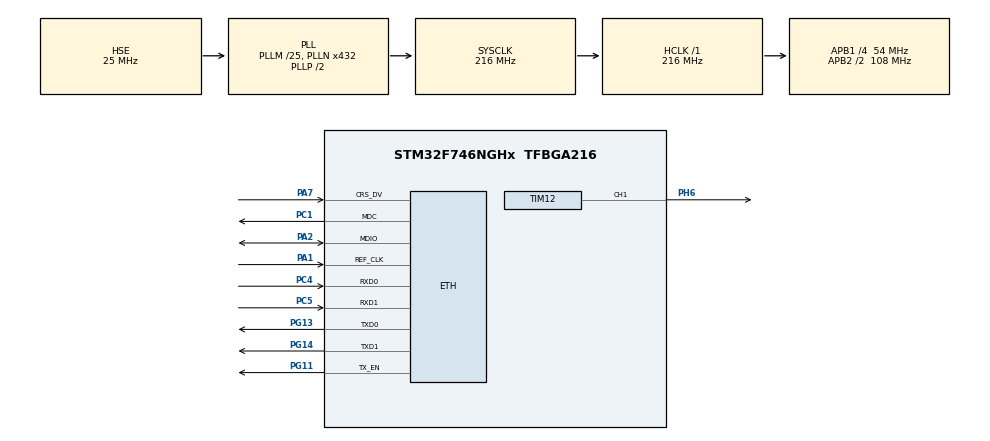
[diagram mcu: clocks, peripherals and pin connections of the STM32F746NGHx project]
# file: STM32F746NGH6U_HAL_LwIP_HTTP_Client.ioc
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Mcu.Family=STM32F7
PA2.GPIO_PuPd=GPIO_PULLUP
RCC.CortexFreq_Value=216000000
FREERTOS.BinarySemaphores01=BinarySem,Dynamic,NULL
LWIP.LWIP_SO_RCVTIMEO=1
CORTEX_M7.PREFETCH_ENABLE=1
PC5.Mode=RMII
PG13.Signal=ETH_TXD0
PG11.Signal=ETH_TX_EN
RCC.SYSCLKSource=RCC_SYSCLKSOURCE_PLLCLK
ProjectManager.StackSize=0x4000
PH0/OSC_IN.Mode=HSE-External-Oscillator
PG11.GPIO_PuPd=GPIO_PULLUP
RCC.HCLKFreq_Value=216000000
RCC.APB2TimFreq_Value=216000000
PH1/OSC_OUT.Signal=RCC_OSC_OUT
FREERTOS.configMINIMAL_STACK_SIZE=256
PA1.GPIO_PuPd=GPIO_PULLUP
RCC.AHBFreq_Value=216000000
NVIC.ETH_IRQn=true\:5\:0\:false\:false\:true\:true\:false\:true
RCC.HSE_VALUE=25000000
PB3.Mode=Trace_Asynchronous_SW
PC1.GPIO_PuPd=GPIO_PULLUP
PG13.GPIO_PuPd=GPIO_PULLUP
TIM12.Period=99
PG14.Mode=RMII
SH.S_TIM12_CH1.0=TIM12_CH1,PWM Generation1 CH1
PA14.Mode=Trace_Asynchronous_SW
VP_SYS_VS_tim1.Mode=TIM1
PG13.Mode=RMII
VP_FREERTOS_VS_CMSIS_V1.Mode=CMSIS_V1
PH1/OSC_OUT.Mode=HSE-External-Oscillator
FREERTOS.configTOTAL_HEAP_SIZE=131072
Mcu.Package=TFBGA216
NVIC.TimeBase=TIM1_UP_TIM10_IRQn
NVIC.TimeBaseIP=TIM1
RCC.APB2CLKDivider=RCC_HCLK_DIV2
RCC.APB1TimFreq_Value=108000000
PC5.Signal=ETH_RXD1
PC4.Mode=RMII
RCC.PLLSourceVirtual=RCC_PLLSOURCE_HSE
CORTEX_M7.CPU_ICache=Enabled
FREERTOS.Tasks01=defaultTask,0,256,StartDefaultTask,Default,NULL,Dynamic,NULL,NULL;pwmTask,1,256,StartPwmTask,Default,NULL,Dynamic,NULL,NULL
PA7.Mode=RMII
PC4.GPIO_PuPd=GPIO_PULLUP
PC4.Signal=ETH_RXD0
ETH.MACAddr=44\:88\:44\:88\:44\:88
RCC.APB1CLKDivider=RCC_HCLK_DIV4
PC5.GPIO_PuPd=GPIO_PULLUP
ETH.PhyAddress=0
TIM12.Pulse-PWM\ Generation1\ CH1=100
VP_LWIP_VS_Enabled.Mode=Enabled
LWIP.LWIP_DNS=1
PA13.Signal=SYS_JTMS-SWDIO
ProjectManager.TargetToolchain=STM32CubeIDE
CORTEX_M7.ART_ACCLERATOR_ENABLE=1
RCC.USBFreq_Value=216000000
RCC.LSE_VALUE=32768
PA7.GPIO_PuPd=GPIO_PULLUP
PA1.Signal=ETH_REF_CLK
PG14.Signal=ETH_TXD1
board=custom
RCC.VCOOutputFreq_Value=432000000
PH0/OSC_IN.Signal=RCC_OSC_IN
TIM12.Channel-PWM\ Generation1\ CH1=TIM_CHANNEL_1
RCC.APB2Freq_Value=108000000
PA1.Mode=RMII
PG14.GPIO_PuPd=GPIO_PULLUP
PA13.Mode=Trace_Asynchronous_SW
Mcu.Name=STM32F746NGHx
PA2.Signal=ETH_MDIO
PB3.Signal=SYS_JTDO-SWO
RCC.SYSCLKFreq_VALUE=216000000
ETH.MediaInterface=ETH_MEDIA_INTERFACE_RMII
PG11.Mode=RMII
PA14.Signal=SYS_JTCK-SWCLK
ProjectManager.HeapSize=0x2000
LWIP.Version=v2.1.2_Cube
PH6.Signal=S_TIM12_CH1
NVIC.TIM1_UP_TIM10_IRQn=true\:0\:0\:false\:false\:true\:false\:false\:true
RCC.HSI_VALUE=16000000
NVIC.PriorityGroup=NVIC_PRIORITYGROUP_4
RCC.PLLM=25
RCC.PLLN=432
PA2.Mode=RMII
RCC.APB1Freq_Value=54000000
PC1.Signal=ETH_MDC
PC1.Mode=RMII
PA7.Signal=ETH_CRS_DV

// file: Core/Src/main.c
/* USER CODE BEGIN Header */
/**
  ******************************************************************************
  * @file           : main.c
  * @brief          : Main program body
  ******************************************************************************
  * @attention
  *
  * <h2><center>&copy; Copyright (c) 2020 STMicroelectronics.
  * All rights reserved.</center></h2>
  *
  * This software component is licensed by ST under BSD 3-Clause license,
  * the "License"; You may not use this file except in compliance with the
  * License. You may obtain a copy of the License at:
  *                        opensource.org/licenses/BSD-3-Clause
  *
  ******************************************************************************
  */
/* USER CODE END Header */
#include "main.h"
#include "cmsis_os.h"
#include "lwip.h"
#include "tim.h"
#include "gpio.h"

void SystemClock_Config(void);
void MX_FREERTOS_Init(void);

/* USER CODE BEGIN 0 */

int _write(int file, char *ptr, int len)
{
  /* Implement your write code here, this is used by puts and printf for example */
  int i=0;
  for(i=0 ; i<len ; i++)
    ITM_SendChar((*ptr++));
  return len;
}

/* USER CODE END 0 */

int main(void)
{

  /* Enable I-Cache---------------------------------------------------------*/
  SCB_EnableICache();

  /* MCU Configuration--------------------------------------------------------*/

  /* Reset of all peripherals, Initializes the Flash interface and the Systick. */
  HAL_Init();

  /* Configure the system clock */
  SystemClock_Config();

  /* Initialize all configured peripherals */
  MX_GPIO_Init();
  MX_TIM12_Init();
  /* USER CODE BEGIN 2 */

  HAL_TIM_PWM_Start_IT(&htim12, TIM_CHANNEL_1);

  /* USER CODE END 2 */

  /* Call init function for freertos objects (in freertos.c) */
  MX_FREERTOS_Init();
  /* Start scheduler */
  osKernelStart();

  /* We should never get here as control is now taken by the scheduler */
  /* Infinite loop */
  while (1)
  {

  }
}

void SystemClock_Config(void)
{
  RCC_OscInitTypeDef RCC_OscInitStruct = {0};
  RCC_ClkInitTypeDef RCC_ClkInitStruct = {0};

  /** Configure the main internal regulator output voltage
  */
  __HAL_RCC_PWR_CLK_ENABLE();
  __HAL_PWR_VOLTAGESCALING_CONFIG(PWR_REGULATOR_VOLTAGE_SCALE1);
  /** Initializes the RCC Oscillators according to the specified parameters
  * in the RCC_OscInitTypeDef structure.
  */
  RCC_OscInitStruct.OscillatorType = RCC_OSCILLATORTYPE_HSE;
  RCC_OscInitStruct.HSEState = RCC_HSE_ON;
  RCC_OscInitStruct.PLL.PLLState = RCC_PLL_ON;
  RCC_OscInitStruct.PLL.PLLSource = RCC_PLLSOURCE_HSE;
  RCC_OscInitStruct.PLL.PLLM = 25;
  RCC_OscInitStruct.PLL.PLLN = 432;
  RCC_OscInitStruct.PLL.PLLP = RCC_PLLP_DIV2;
  RCC_OscInitStruct.PLL.PLLQ = 2;
  if (HAL_RCC_OscConfig(&RCC_OscInitStruct) != HAL_OK)
  {
    Error_Handler();
  }
  /** Activate the Over-Drive mode
  */
  if (HAL_PWREx_EnableOverDrive() != HAL_OK)
  {
    Error_Handler();
  }
  /** Initializes the CPU, AHB and APB buses clocks
  */
  RCC_ClkInitStruct.ClockType = RCC_CLOCKTYPE_HCLK|RCC_CLOCKTYPE_SYSCLK
                              |RCC_CLOCKTYPE_PCLK1|RCC_CLOCKTYPE_PCLK2;
  RCC_ClkInitStruct.SYSCLKSource = RCC_SYSCLKSOURCE_PLLCLK;
  RCC_ClkInitStruct.AHBCLKDivider = RCC_SYSCLK_DIV1;
  RCC_ClkInitStruct.APB1CLKDivider = RCC_HCLK_DIV4;
  RCC_ClkInitStruct.APB2CLKDivider = RCC_HCLK_DIV2;

  if (HAL_RCC_ClockConfig(&RCC_ClkInitStruct, FLASH_LATENCY_7) != HAL_OK)
  {
    Error_Handler();
  }
}

 /**
  * @brief  Period elapsed callback in non blocking mode
  * @note   This function is called  when TIM1 interrupt took place, inside
  * HAL_TIM_IRQHandler(). It makes a direct call to HAL_IncTick() to increment
  * a global variable "uwTick" used as application time base.
  * @param  htim : TIM handle
  * @retval None
  */
void HAL_TIM_PeriodElapsedCallback(TIM_HandleTypeDef *htim)
{
  if (htim->Instance == TIM1) {
    HAL_IncTick();
  }
}

void Error_Handler(void)
{
  __disable_irq();
  while (1)
  {
  }
}

/************************ (C) COPYRIGHT STMicroelectronics *****END OF FILE****/

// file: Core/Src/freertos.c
/* USER CODE BEGIN Header */
/**
  ******************************************************************************
  * File Name          : freertos.c
  * Description        : Code for freertos applications
  ******************************************************************************
  * @attention
  *
  * <h2><center>&copy; Copyright (c) 2020 STMicroelectronics.
  * All rights reserved.</center></h2>
  *
  * This software component is licensed by ST under Ultimate Liberty license
  * SLA0044, the "License"; You may not use this file except in compliance with
  * the License. You may obtain a copy of the License at:
  *                             www.st.com/SLA0044
  *
  ******************************************************************************
  */
/* USER CODE END Header */

#include "FreeRTOS.h"
#include "task.h"
#include "main.h"
#include "cmsis_os.h"

/* USER CODE BEGIN Includes */

#include "stdio.h"
#include "lwip.h"
#include "api.h"
#include "string.h"

/* USER CODE END Includes */

/* USER CODE BEGIN PD */

#define TIMEOUT		3000	//	in ms
#define BUF_LENGTH	2048

//#define	DOMAIN_NAME	"fly.sytes.net"
//#define PORT		8080

#define DOMAIN_NAME	"google.com"
#define PORT		80

/* USER CODE END PD */

/* USER CODE BEGIN Variables */

char recv_buf[BUF_LENGTH] = {0};
extern TIM_HandleTypeDef htim12;

/* USER CODE END Variables */
osThreadId defaultTaskHandle;
osThreadId pwmTaskHandle;
osSemaphoreId BinarySemHandle;

void StartDefaultTask(void const * argument);
void StartPwmTask(void const * argument);

extern void MX_LWIP_Init(void);
void MX_FREERTOS_Init(void); /* (MISRA C 2004 rule 8.1) */

/* GetIdleTaskMemory prototype (linked to static allocation support) */
void vApplicationGetIdleTaskMemory( StaticTask_t **ppxIdleTaskTCBBuffer, StackType_t **ppxIdleTaskStackBuffer, uint32_t *pulIdleTaskStackSize );

/* USER CODE BEGIN GET_IDLE_TASK_MEMORY */
static StaticTask_t xIdleTaskTCBBuffer;
static StackType_t xIdleStack[configMINIMAL_STACK_SIZE];

void vApplicationGetIdleTaskMemory( StaticTask_t **ppxIdleTaskTCBBuffer, StackType_t **ppxIdleTaskStackBuffer, uint32_t *pulIdleTaskStackSize )
{
  *ppxIdleTaskTCBBuffer = &xIdleTaskTCBBuffer;
  *ppxIdleTaskStackBuffer = &xIdleStack[0];
  *pulIdleTaskStackSize = configMINIMAL_STACK_SIZE;
  /* place for user code */
}
/* USER CODE END GET_IDLE_TASK_MEMORY */

void MX_FREERTOS_Init(void) {

  /* Create the semaphores(s) */
  /* definition and creation of BinarySem */
  osSemaphoreDef(BinarySem);
  BinarySemHandle = osSemaphoreCreate(osSemaphore(BinarySem), 1);

  /* Create the thread(s) */
  /* definition and creation of defaultTask */
  osThreadDef(defaultTask, StartDefaultTask, osPriorityNormal, 0, 256);
  defaultTaskHandle = osThreadCreate(osThread(defaultTask), NULL);

  /* definition and creation of pwmTask */
  osThreadDef(pwmTask, StartPwmTask, osPriorityAboveNormal, 0, 256);
  pwmTaskHandle = osThreadCreate(osThread(pwmTask), NULL);

}

/* USER CODE BEGIN Header_StartDefaultTask */
/**
  * @brief  Function implementing the defaultTask thread.
  * @param  argument: Not used
  * @retval None
  */

extern struct netif gnetif;
/* USER CODE END Header_StartDefaultTask */
void StartDefaultTask(void const * argument)
{
  /* init code for LWIP */
  MX_LWIP_Init();
  /* USER CODE BEGIN StartDefaultTask */

  char * write_buf = pvPortMalloc(64);

  struct netconn * nc;
  struct netbuf * nb;
  volatile err_t res;
  ip_addr_t local_ip;
  ip_addr_t remote_ip;

  while(gnetif.ip_addr.addr == 0) osDelay(1);
  local_ip = gnetif.ip_addr;
  printf("Client IP: %s\r\n", ip4addr_ntoa(&gnetif.ip_addr));

  netconn_gethostbyname(DOMAIN_NAME, &remote_ip);
  printf("Server IP: %s\r\n\r\n", ip4addr_ntoa(&remote_ip));

  sprintf(write_buf, "GET / HTTP/1.1\r\nHost: %s\r\n\r\n", DOMAIN_NAME);

  /* Infinite loop */
  for(;;){

	  nc = netconn_new(NETCONN_TCP);
	  if(nc != NULL){

		  netconn_set_recvtimeout(nc, TIMEOUT);
		  res = netconn_bind(nc, &local_ip, 0);
		  if(res == ERR_OK){

			  res = netconn_connect(nc, &remote_ip, PORT);
			  if(res == ERR_OK){

				  for(;;){

					  res = netconn_write(nc, write_buf, strlen(write_buf), NETCONN_COPY);
					  printf("send:\r\n%s", write_buf);
					  if(res != ERR_OK){

						  printf("\r\n\r\nnetconn_write error: %d\r\n\r\n", res);
						  break;
					  }
					  res = netconn_recv(nc, &nb);
					  if(res == ERR_OK){

						  uint16_t len = netbuf_len(nb);
						  netbuf_copy(nb, recv_buf, len);
						  netbuf_delete(nb);
						  recv_buf[len] = 0;
						  printf("recv:\r\n%s", recv_buf);

					  } else {

						  printf("\r\n\r\nnetconn_recv error: %d\r\n\r\n", res);
						  break;
					  }
					  xSemaphoreGive(BinarySemHandle);
					  osDelay(TIMEOUT);
				  }
			  } else printf("netconn_connect error: %d\r\n", res);
		  }	else printf("netconn_bind error: %d\r\n", res);
		  netconn_close(nc);
		  netconn_delete(nc);
		  printf("connection closed and deleted\r\n");
	  } else printf("netconn_new error\r\n");
	  osDelay(TIMEOUT);
  }
  /* USER CODE END StartDefaultTask */
}

void StartPwmTask(void const * argument)
{
  /* USER CODE BEGIN StartPwmTask */
	xSemaphoreTake(BinarySemHandle, (TickType_t) 10);
  /* Infinite loop */
  for(;;){

	  if(xSemaphoreTake(BinarySemHandle, (TickType_t) 10) == pdTRUE){

		  char * ptr = strchr(recv_buf, '$');
		  if(ptr != NULL){

			  uint16_t brightness = 0;
			  sscanf(ptr + 1, "%hu", &brightness);
			  TIM12->CCR1 = brightness;	//	0 - min 100 - max
			  printf("brightness = %d\r\n", brightness);
		  	  memset(recv_buf, 0, BUF_LENGTH);
		  } else printf("\r\n$ not found\r\n");
	  }
  }
  /* USER CODE END StartPwmTask */
}

/************************ (C) COPYRIGHT STMicroelectronics *****END OF FILE****/
